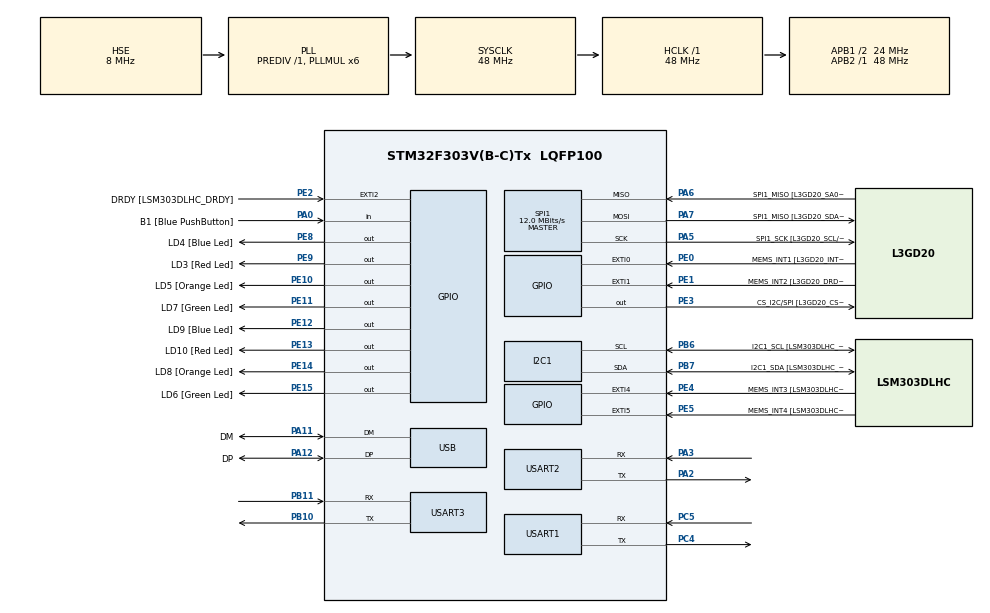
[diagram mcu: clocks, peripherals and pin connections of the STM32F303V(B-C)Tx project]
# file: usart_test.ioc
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I2C1.Timing-I2C=0x2000090E
Mcu.Family=STM32F3
Mcu.Name=STM32F303V(B-C)Tx
Mcu.Package=LQFP100
NVIC.PriorityGroup=NVIC_PRIORITYGROUP_0
PA0.GPIO_Label=B1 [Blue PushButton]
PA0.Signal=GPIO_Input
PA11.GPIO_Label=DM
PA11.Mode=Device
PA11.Signal=USB_DM
PA12.GPIO_Label=DP
PA12.Mode=Device
PA12.Signal=USB_DP
PA13.GPIO_Label=SWDIO
PA13.Mode=Serial_Wire
PA13.Signal=SYS_JTMS-SWDIO
PA14.GPIO_Label=SWCLK
PA14.Mode=Serial_Wire
PA14.Signal=SYS_JTCK-SWCLK
PA2.Mode=Asynchronous
PA2.Signal=USART2_TX
PA3.Mode=Asynchronous
PA3.Signal=USART2_RX
PA5.GPIO_Label=SPI1_SCK [L3GD20_SCL/SPC]
PA5.Mode=Full_Duplex_Master
PA5.Signal=SPI1_SCK
PA6.GPIO_Label=SPI1_MISO [L3GD20_SA0/SDO]
PA6.Mode=Full_Duplex_Master
PA6.Signal=SPI1_MISO
PA7.GPIO_Label=SPI1_MISO [L3GD20_SDA/SDI/SDO]
PA7.Mode=Full_Duplex_Master
PA7.Signal=SPI1_MOSI
PB10.Mode=Asynchronous
PB10.Signal=USART3_TX
PB11.Mode=Asynchronous
PB11.Signal=USART3_RX
PB3.GPIO_Label=SWO
PB3.Signal=SYS_JTDO-TRACESWO
PB6.GPIO_Label=I2C1_SCL [LSM303DLHC_SCL]
PB6.Mode=I2C
PB6.Signal=I2C1_SCL
PB7.GPIO_Label=I2C1_SDA [LSM303DLHC_SDA]
PB7.Mode=I2C
PB7.Signal=I2C1_SDA
PC14-OSC32_IN.GPIO_Label=OSC32_IN
PC14-OSC32_IN.Signal=RCC_OSC32_IN
PC15-OSC32_OUT.GPIO_Label=OSC32_OUT
PC15-OSC32_OUT.Signal=RCC_OSC32_OUT
PC4.Mode=Asynchronous
PC4.Signal=USART1_TX
PC5.Mode=Asynchronous
PC5.Signal=USART1_RX
PE0.GPIO_Label=MEMS_INT1 [L3GD20_INT1]
PE0.GPIO_ModeDefaultEXTI=GPIO_MODE_EVT_RISING
PE0.Signal=GPXTI0
PE1.GPIO_Label=MEMS_INT2 [L3GD20_DRDY/INT2]
PE1.GPIO_ModeDefaultEXTI=GPIO_MODE_EVT_RISING
PE1.Signal=GPXTI1
PE10.GPIO_Label=LD5 [Orange Led]
PE10.Signal=GPIO_Output
PE11.GPIO_Label=LD7 [Green Led]
PE11.Signal=GPIO_Output
PE12.GPIO_Label=LD9 [Blue Led]
PE12.Signal=GPIO_Output
PE13.GPIO_Label=LD10 [Red Led]
PE13.Signal=GPIO_Output
PE14.GPIO_Label=LD8 [Orange Led]
PE14.Signal=GPIO_Output
PE15.GPIO_Label=LD6 [Green Led]
PE15.Signal=GPIO_Output
PE2.GPIO_Label=DRDY [LSM303DLHC_DRDY]
PE2.GPIO_ModeDefaultEXTI=GPIO_MODE_EVT_RISING
PE2.Signal=GPXTI2
PE3.GPIO_Label=CS_I2C/SPI [L3GD20_CS_I2C/SPI]
PE3.Signal=GPIO_Output
PE4.GPIO_Label=MEMS_INT3 [LSM303DLHC_INT1]
PE4.GPIO_ModeDefaultEXTI=GPIO_MODE_EVT_RISING
PE4.Signal=GPXTI4
PE5.GPIO_Label=MEMS_INT4 [LSM303DLHC_INT2]
PE5.GPIO_ModeDefaultEXTI=GPIO_MODE_EVT_RISING
PE5.Signal=GPXTI5
PE8.GPIO_Label=LD4 [Blue Led]
PE8.Signal=GPIO_Output
PE9.GPIO_Label=LD3 [Red Led]
PE9.Signal=GPIO_Output
PF0-OSC_IN.GPIO_Label=OSC_IN
PF0-OSC_IN.Mode=HSE-External-Clock-Source
PF0-OSC_IN.Signal=RCC_OSC_IN
PF1-OSC_OUT.GPIO_Label=OSC_OUT
PF1-OSC_OUT.Signal=RCC_OSC_OUT
ProjectManager.HeapSize=0x200
ProjectManager.StackSize=0x400
ProjectManager.TargetToolchain=STM32CubeIDE
RCC.AHBFreq_Value=48000000
RCC.APB1CLKDivider=RCC_HCLK_DIV2
RCC.APB1Freq_Value=24000000
RCC.APB1TimFreq_Value=48000000
RCC.APB2Freq_Value=48000000
RCC.APB2TimFreq_Value=48000000
RCC.CortexFreq_Value=48000000
RCC.HCLKFreq_Value=48000000
RCC.HSE_VALUE=8000000
RCC.HSI_VALUE=8000000
RCC.LSE_VALUE=32768
RCC.PLLMUL=RCC_PLL_MUL6
RCC.SYSCLKFreq_VALUE=48000000
RCC.SYSCLKSourceVirtual=RCC_SYSCLKSOURCE_PLLCLK
RCC.USBFreq_Value=48000000
SPI1.BaudRatePrescaler=SPI_BAUDRATEPRESCALER_4
SPI1.BaudRatePrescaler-Full_Duplex_Master=SPI_BAUDRATEPRESCALER_2
SPI1.CalculateBaudRate=12.0 MBits/s
SPI1.CalculateBaudRate-Full_Duplex_Master=24.0 MBits/s
SPI1.Direction=SPI_DIRECTION_2LINES
SPI1.Mode=SPI_MODE_MASTER
SPI1.Mode-Full_Duplex_Master=SPI_MODE_MASTER
SPI1.VirtualType=VM_MASTER
USART1.VirtualMode-Asynchronous=VM_ASYNC
USART2.VirtualMode-Asynchronous=VM_ASYNC
USART3.VirtualMode-Asynchronous=VM_ASYNC
board=STM32F3DISCOVERY

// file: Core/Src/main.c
/* USER CODE BEGIN Header */
/**
  ******************************************************************************
  * @file           : main.c
  * @brief          : Main program body
  ******************************************************************************
  * @attention
  *
  * <h2><center>&copy; Copyright (c) 2022 STMicroelectronics.
  * All rights reserved.</center></h2>
  *
  * This software component is licensed by ST under BSD 3-Clause license,
  * the "License"; You may not use this file except in compliance with the
  * License. You may obtain a copy of the License at:
  *                        opensource.org/licenses/BSD-3-Clause
  *
  ******************************************************************************
  */
/* USER CODE END Header */
#include "main.h"

I2C_HandleTypeDef hi2c1;

SPI_HandleTypeDef hspi1;

UART_HandleTypeDef huart1;
UART_HandleTypeDef huart2;
UART_HandleTypeDef huart3;

PCD_HandleTypeDef hpcd_USB_FS;

void SystemClock_Config(void);
static void MX_GPIO_Init(void);
static void MX_I2C1_Init(void);
static void MX_SPI1_Init(void);
static void MX_USART2_UART_Init(void);
static void MX_USART3_UART_Init(void);
static void MX_USB_PCD_Init(void);
static void MX_USART1_UART_Init(void);

/* USER CODE BEGIN 0 */
void blink(int d){
HAL_GPIO_TogglePin(GPIOE, GPIO_PIN_8);
HAL_GPIO_TogglePin(GPIOE, GPIO_PIN_9);
HAL_GPIO_TogglePin(GPIOE, GPIO_PIN_10);
HAL_GPIO_TogglePin(GPIOE, GPIO_PIN_11);
HAL_GPIO_TogglePin(GPIOE, GPIO_PIN_12);
HAL_GPIO_TogglePin(GPIOE, GPIO_PIN_13);
HAL_GPIO_TogglePin(GPIOE, GPIO_PIN_14);
HAL_GPIO_TogglePin(GPIOE, GPIO_PIN_15);
HAL_Delay(d);
}
/* USER CODE END 0 */

int main(void)
{
  /* USER CODE BEGIN 1 */
	int count=0;
	char mx[]="\n \r count : \n\r";
	char r[]="\n\r reset count \n\r";
	char f[]=" ";
	int delay=100;
	GPIO_PinState bitstatus;
  /* USER CODE END 1 */

  /* MCU Configuration--------------------------------------------------------*/

  /* Reset of all peripherals, Initializes the Flash interface and the Systick. */
  HAL_Init();

  /* Configure the system clock */
  SystemClock_Config();

  /* Initialize all configured peripherals */
  MX_GPIO_Init();
  MX_I2C1_Init();
  MX_SPI1_Init();
  MX_USART2_UART_Init();
  MX_USART3_UART_Init();
  MX_USB_PCD_Init();
  MX_USART1_UART_Init();

  /* Infinite loop */
  while (1)
  {
blink(delay);
count++;
f[0]=count +'0';

HAL_UART_Transmit(&huart1, mx, sizeof(mx), 100);
HAL_UART_Transmit(&huart1, f, sizeof(f), 100);
HAL_Delay(100);
if(count==10){
HAL_UART_Transmit(&huart1, r, sizeof(r), 500);
	HAL_Delay(500);

	count=0;
}

  }
}

void SystemClock_Config(void)
{
  RCC_OscInitTypeDef RCC_OscInitStruct = {0};
  RCC_ClkInitTypeDef RCC_ClkInitStruct = {0};
  RCC_PeriphCLKInitTypeDef PeriphClkInit = {0};

  /** Initializes the RCC Oscillators according to the specified parameters
  * in the RCC_OscInitTypeDef structure.
  */
  RCC_OscInitStruct.OscillatorType = RCC_OSCILLATORTYPE_HSI|RCC_OSCILLATORTYPE_HSE;
  RCC_OscInitStruct.HSEState = RCC_HSE_BYPASS;
  RCC_OscInitStruct.HSEPredivValue = RCC_HSE_PREDIV_DIV1;
  RCC_OscInitStruct.HSIState = RCC_HSI_ON;
  RCC_OscInitStruct.HSICalibrationValue = RCC_HSICALIBRATION_DEFAULT;
  RCC_OscInitStruct.PLL.PLLState = RCC_PLL_ON;
  RCC_OscInitStruct.PLL.PLLSource = RCC_PLLSOURCE_HSE;
  RCC_OscInitStruct.PLL.PLLMUL = RCC_PLL_MUL6;
  if (HAL_RCC_OscConfig(&RCC_OscInitStruct) != HAL_OK)
  {
    Error_Handler();
  }
  /** Initializes the CPU, AHB and APB buses clocks
  */
  RCC_ClkInitStruct.ClockType = RCC_CLOCKTYPE_HCLK|RCC_CLOCKTYPE_SYSCLK
                              |RCC_CLOCKTYPE_PCLK1|RCC_CLOCKTYPE_PCLK2;
  RCC_ClkInitStruct.SYSCLKSource = RCC_SYSCLKSOURCE_PLLCLK;
  RCC_ClkInitStruct.AHBCLKDivider = RCC_SYSCLK_DIV1;
  RCC_ClkInitStruct.APB1CLKDivider = RCC_HCLK_DIV2;
  RCC_ClkInitStruct.APB2CLKDivider = RCC_HCLK_DIV1;

  if (HAL_RCC_ClockConfig(&RCC_ClkInitStruct, FLASH_LATENCY_1) != HAL_OK)
  {
    Error_Handler();
  }
  PeriphClkInit.PeriphClockSelection = RCC_PERIPHCLK_USB|RCC_PERIPHCLK_USART1
                              |RCC_PERIPHCLK_USART2|RCC_PERIPHCLK_USART3
                              |RCC_PERIPHCLK_I2C1;
  PeriphClkInit.Usart1ClockSelection = RCC_USART1CLKSOURCE_PCLK2;
  PeriphClkInit.Usart2ClockSelection = RCC_USART2CLKSOURCE_PCLK1;
  PeriphClkInit.Usart3ClockSelection = RCC_USART3CLKSOURCE_PCLK1;
  PeriphClkInit.I2c1ClockSelection = RCC_I2C1CLKSOURCE_HSI;
  PeriphClkInit.USBClockSelection = RCC_USBCLKSOURCE_PLL;
  if (HAL_RCCEx_PeriphCLKConfig(&PeriphClkInit) != HAL_OK)
  {
    Error_Handler();
  }
}

static void MX_I2C1_Init(void)
{

  hi2c1.Instance = I2C1;
  hi2c1.Init.Timing = 0x2000090E;
  hi2c1.Init.OwnAddress1 = 0;
  hi2c1.Init.AddressingMode = I2C_ADDRESSINGMODE_7BIT;
  hi2c1.Init.DualAddressMode = I2C_DUALADDRESS_DISABLE;
  hi2c1.Init.OwnAddress2 = 0;
  hi2c1.Init.OwnAddress2Masks = I2C_OA2_NOMASK;
  hi2c1.Init.GeneralCallMode = I2C_GENERALCALL_DISABLE;
  hi2c1.Init.NoStretchMode = I2C_NOSTRETCH_DISABLE;
  if (HAL_I2C_Init(&hi2c1) != HAL_OK)
  {
    Error_Handler();
  }
  /** Configure Analogue filter
  */
  if (HAL_I2CEx_ConfigAnalogFilter(&hi2c1, I2C_ANALOGFILTER_ENABLE) != HAL_OK)
  {
    Error_Handler();
  }
  /** Configure Digital filter
  */
  if (HAL_I2CEx_ConfigDigitalFilter(&hi2c1, 0) != HAL_OK)
  {
    Error_Handler();
  }

}

static void MX_SPI1_Init(void)
{

  /* SPI1 parameter configuration*/
  hspi1.Instance = SPI1;
  hspi1.Init.Mode = SPI_MODE_MASTER;
  hspi1.Init.Direction = SPI_DIRECTION_2LINES;
  hspi1.Init.DataSize = SPI_DATASIZE_4BIT;
  hspi1.Init.CLKPolarity = SPI_POLARITY_LOW;
  hspi1.Init.CLKPhase = SPI_PHASE_1EDGE;
  hspi1.Init.NSS = SPI_NSS_SOFT;
  hspi1.Init.BaudRatePrescaler = SPI_BAUDRATEPRESCALER_4;
  hspi1.Init.FirstBit = SPI_FIRSTBIT_MSB;
  hspi1.Init.TIMode = SPI_TIMODE_DISABLE;
  hspi1.Init.CRCCalculation = SPI_CRCCALCULATION_DISABLE;
  hspi1.Init.CRCPolynomial = 7;
  hspi1.Init.CRCLength = SPI_CRC_LENGTH_DATASIZE;
  hspi1.Init.NSSPMode = SPI_NSS_PULSE_ENABLE;
  if (HAL_SPI_Init(&hspi1) != HAL_OK)
  {
    Error_Handler();
  }

}

static void MX_USART1_UART_Init(void)
{

  huart1.Instance = USART1;
  huart1.Init.BaudRate = 38400;
  huart1.Init.WordLength = UART_WORDLENGTH_8B;
  huart1.Init.StopBits = UART_STOPBITS_1;
  huart1.Init.Parity = UART_PARITY_NONE;
  huart1.Init.Mode = UART_MODE_TX_RX;
  huart1.Init.HwFlowCtl = UART_HWCONTROL_NONE;
  huart1.Init.OverSampling = UART_OVERSAMPLING_16;
  huart1.Init.OneBitSampling = UART_ONE_BIT_SAMPLE_DISABLE;
  huart1.AdvancedInit.AdvFeatureInit = UART_ADVFEATURE_NO_INIT;
  if (HAL_UART_Init(&huart1) != HAL_OK)
  {
    Error_Handler();
  }

}

static void MX_USART2_UART_Init(void)
{

  huart2.Instance = USART2;
  huart2.Init.BaudRate = 38400;
  huart2.Init.WordLength = UART_WORDLENGTH_8B;
  huart2.Init.StopBits = UART_STOPBITS_1;
  huart2.Init.Parity = UART_PARITY_NONE;
  huart2.Init.Mode = UART_MODE_TX_RX;
  huart2.Init.HwFlowCtl = UART_HWCONTROL_NONE;
  huart2.Init.OverSampling = UART_OVERSAMPLING_16;
  huart2.Init.OneBitSampling = UART_ONE_BIT_SAMPLE_DISABLE;
  huart2.AdvancedInit.AdvFeatureInit = UART_ADVFEATURE_NO_INIT;
  if (HAL_UART_Init(&huart2) != HAL_OK)
  {
    Error_Handler();
  }

}

static void MX_USART3_UART_Init(void)
{

  huart3.Instance = USART3;
  huart3.Init.BaudRate = 38400;
  huart3.Init.WordLength = UART_WORDLENGTH_8B;
  huart3.Init.StopBits = UART_STOPBITS_1;
  huart3.Init.Parity = UART_PARITY_NONE;
  huart3.Init.Mode = UART_MODE_TX_RX;
  huart3.Init.HwFlowCtl = UART_HWCONTROL_NONE;
  huart3.Init.OverSampling = UART_OVERSAMPLING_16;
  huart3.Init.OneBitSampling = UART_ONE_BIT_SAMPLE_DISABLE;
  huart3.AdvancedInit.AdvFeatureInit = UART_ADVFEATURE_NO_INIT;
  if (HAL_UART_Init(&huart3) != HAL_OK)
  {
    Error_Handler();
  }

}

static void MX_USB_PCD_Init(void)
{

  hpcd_USB_FS.Instance = USB;
  hpcd_USB_FS.Init.dev_endpoints = 8;
  hpcd_USB_FS.Init.speed = PCD_SPEED_FULL;
  hpcd_USB_FS.Init.phy_itface = PCD_PHY_EMBEDDED;
  hpcd_USB_FS.Init.low_power_enable = DISABLE;
  hpcd_USB_FS.Init.battery_charging_enable = DISABLE;
  if (HAL_PCD_Init(&hpcd_USB_FS) != HAL_OK)
  {
    Error_Handler();
  }

}

static void MX_GPIO_Init(void)
{
  GPIO_InitTypeDef GPIO_InitStruct = {0};

  /* GPIO Ports Clock Enable */
  __HAL_RCC_GPIOE_CLK_ENABLE();
  __HAL_RCC_GPIOC_CLK_ENABLE();
  __HAL_RCC_GPIOF_CLK_ENABLE();
  __HAL_RCC_GPIOA_CLK_ENABLE();
  __HAL_RCC_GPIOB_CLK_ENABLE();

  /*Configure GPIO pin Output Level */
  HAL_GPIO_WritePin(GPIOE, CS_I2C_SPI_Pin|LD4_Pin|LD3_Pin|LD5_Pin
                          |LD7_Pin|LD9_Pin|LD10_Pin|LD8_Pin
                          |LD6_Pin, GPIO_PIN_RESET);

  /*Configure GPIO pins : DRDY_Pin MEMS_INT3_Pin MEMS_INT4_Pin MEMS_INT1_Pin
                           MEMS_INT2_Pin */
  GPIO_InitStruct.Pin = DRDY_Pin|MEMS_INT3_Pin|MEMS_INT4_Pin|MEMS_INT1_Pin
                          |MEMS_INT2_Pin;
  GPIO_InitStruct.Mode = GPIO_MODE_EVT_RISING;
  GPIO_InitStruct.Pull = GPIO_NOPULL;
  HAL_GPIO_Init(GPIOE, &GPIO_InitStruct);

  /*Configure GPIO pins : CS_I2C_SPI_Pin LD4_Pin LD3_Pin LD5_Pin
                           LD7_Pin LD9_Pin LD10_Pin LD8_Pin
                           LD6_Pin */
  GPIO_InitStruct.Pin = CS_I2C_SPI_Pin|LD4_Pin|LD3_Pin|LD5_Pin
                          |LD7_Pin|LD9_Pin|LD10_Pin|LD8_Pin
                          |LD6_Pin;
  GPIO_InitStruct.Mode = GPIO_MODE_OUTPUT_PP;
  GPIO_InitStruct.Pull = GPIO_NOPULL;
  GPIO_InitStruct.Speed = GPIO_SPEED_FREQ_LOW;
  HAL_GPIO_Init(GPIOE, &GPIO_InitStruct);

  /*Configure GPIO pin : B1_Pin */
  GPIO_InitStruct.Pin = B1_Pin;
  GPIO_InitStruct.Mode = GPIO_MODE_INPUT;
  GPIO_InitStruct.Pull = GPIO_NOPULL;
  HAL_GPIO_Init(B1_GPIO_Port, &GPIO_InitStruct);

}

void Error_Handler(void)
{
  __disable_irq();
  while (1)
  {
  }
}

/************************ (C) COPYRIGHT STMicroelectronics *****END OF FILE****/
